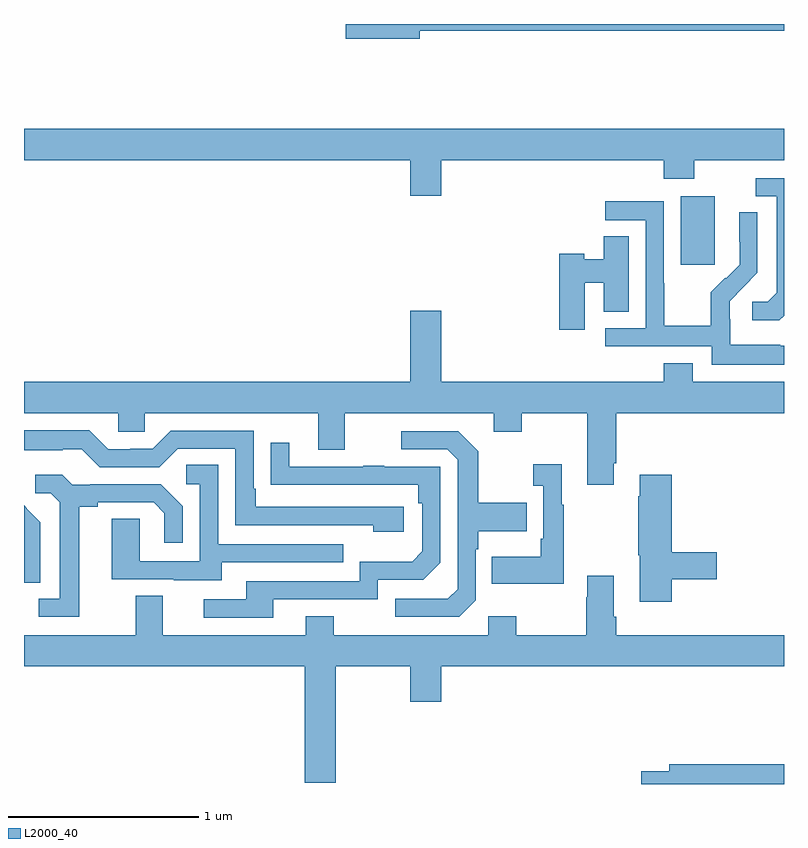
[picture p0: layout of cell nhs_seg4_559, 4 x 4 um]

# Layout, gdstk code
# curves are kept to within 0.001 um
import gdstk
lib = gdstk.Library(unit=1e-6, precision=1e-09)
def R(c, l, rs):  # rectangles x0, y0, x1, y1
    for r in rs: c.add(gdstk.rectangle(r[:2], r[2:], *l))
def P(c, l, *ps):  # polygons
    for p in ps: c.add(gdstk.Polygon(p, *l))
L2000_40 = (2000, 40)

nhs_seg4_559 = lib.new_cell('nhs_seg4_559')
R(nhs_seg4_559, L2000_40, [(142.457,765.633,142.636,765.994)])
P(nhs_seg4_559, L2000_40, [(141.082,766.864),(143,766.864),(143,766.9),(140.694,766.9),(140.694,766.822),(141.082,766.822)],
  [(141.196,766.184),(142.367,766.184),(142.367,766.085),(142.527,766.085),(142.527,766.184),(143,766.184),(143,766.348),(139,766.348),(139,766.184),(141.032,766.184),(141.032,765.996),(141.196,765.996)],
  [(143,765.365),(143,766.089),(142.851,766.089),(142.851,765.993),(142.961,765.993),(142.961,765.485),(142.914,765.438),(142.833,765.438),(142.833,765.341),(142.976,765.341)],
  [(143,765.207),(142.979,765.207),(142.979,765.211),(142.716,765.211),(142.716,765.345),(142.714,765.345),(142.714,765.442),(142.86,765.59),(142.86,765.908),(142.764,765.908),(142.764,765.754),(142.766,765.754),(142.766,765.632),(142.695,765.561),(142.692,765.564),(142.615,765.487),(142.615,765.313),(142.371,765.313),(142.371,765.536),(142.368,765.536),(142.368,765.966),(142.059,765.966),(142.059,765.867),(142.272,765.867),(142.272,765.3),(142.059,765.3),(142.059,765.204),(142.62,765.204),(142.62,765.107),(143,765.107)],
  [(141.952,765.539),(142.052,765.539),(142.052,765.385),(142.183,765.385),(142.183,765.782),(142.052,765.782),(142.052,765.661),(141.948,765.661),(141.948,765.692),(141.818,765.692),(141.818,765.291),(141.952,765.291)],
  [(142.105,764.587),(142.118,764.587),(142.118,764.852),(143,764.852),(143,765.016),(142.519,765.016),(142.519,765.115),(142.367,765.115),(142.367,765.016),(141.196,765.016),(141.196,765.391),(141.032,765.391),(141.032,765.016),(139,765.016),(139,764.852),(139.497,764.852),(139.497,764.754),(139.635,764.754),(139.635,764.852),(140.549,764.852),(140.549,764.658),(140.689,764.658),(140.689,764.852),(141.473,764.852),(141.473,764.753),(141.621,764.753),(141.621,764.852),(141.965,764.852),(141.965,764.475),(142.105,764.475)],
  [(140.998,764.358),(140.221,764.358),(140.221,764.455),(140.208,764.455),(140.208,764.76),(139.773,764.76),(139.677,764.664),(139.559,764.664),(139.559,764.661),(139.443,764.661),(139.343,764.761),(139,764.761),(139,764.657),(139.205,764.657),(139.205,764.661),(139.305,764.661),(139.398,764.568),(139.713,764.568),(139.809,764.664),(140.112,764.664),(140.112,764.262),(140.837,764.262),(140.837,764.228),(140.998,764.228)],
  [(141.378,763.866),(141.378,764.135),(141.391,764.135),(141.391,764.231),(141.647,764.231),(141.647,764.379),(141.391,764.379),(141.391,764.651),(141.285,764.757),(140.985,764.757),(140.985,764.661),(141.228,764.661),(141.282,764.607),(141.282,763.926),(141.231,763.875),(140.955,763.875),(140.955,763.779),(141.291,763.779)],
  [(140.311,763.872),(140.862,763.872),(140.862,763.974),(141.102,763.974),(141.192,764.064),(141.192,764.571),(140.897,764.571),(140.897,764.576),(140.785,764.576),(140.785,764.571),(140.395,764.571),(140.395,764.695),(140.299,764.695),(140.299,764.476),(141.076,764.475),(141.076,764.378),(141.096,764.378),(141.096,764.124),(141.043,764.071),(140.766,764.071),(140.766,763.968),(140.171,763.968),(140.171,763.872),(139.947,763.872),(139.947,763.776),(140.311,763.776)],
  [(141.841,764.371),(141.829,764.371),(141.829,764.584),(141.681,764.584),(141.681,764.471),(141.732,764.471),(141.732,764.191),(141.72,764.191),(141.72,764.095),(141.463,764.095),(141.463,763.955),(141.841,763.955)],
  [(140.041,764.067),(140.681,764.067),(140.681,764.163),(140.022,764.163),(140.022,764.579),(139.854,764.579),(139.854,764.478),(139.926,764.478),(139.926,764.073),(139.608,764.073),(139.608,764.297),(139.463,764.297),(139.463,763.977),(139.787,763.977),(139.787,763.973),(140.041,763.973)],
  [(139.291,764.36),(139.387,764.36),(139.387,764.382),(139.682,764.382),(139.739,764.325),(139.739,764.169),(139.836,764.169),(139.836,764.362),(139.72,764.478),(139.348,764.478),(139.348,764.475),(139.254,764.475),(139.202,764.527),(139.059,764.527),(139.059,764.43),(139.14,764.43),(139.187,764.383),(139.187,763.875),(139.077,763.875),(139.077,763.779),(139.291,763.779)],
  [(142.409,763.978),(142.645,763.978),(142.645,764.12),(142.409,764.12),(142.409,764.527),(142.241,764.527),(142.241,764.414),(142.234,764.414),(142.234,764.103),(142.241,764.103),(142.241,763.86),(142.409,763.86)],
  [(139.086,764.278),(139.013,764.351),(139.014,764.352),(139,764.366),(139,763.96),(139.086,763.96)],
  [(140.641,763.52),(141.032,763.52),(141.032,763.332),(141.196,763.332),(141.196,763.52),(143,763.52),(143,763.684),(142.118,763.684),(142.118,763.78),(142.105,763.78),(142.105,763.996),(141.965,763.996),(141.965,763.883),(141.958,763.883),(141.958,763.684),(141.591,763.684),(141.591,763.783),(141.444,763.783),(141.444,763.684),(140.631,763.684),(140.631,763.783),(140.483,763.783),(140.483,763.684),(139.729,763.684),(139.729,763.892),(139.589,763.892),(139.589,763.684),(139,763.684),(139,763.52),(140.477,763.52),(140.477,762.906),(140.641,762.906)],
  [(143,763.004),(142.397,763.004),(142.397,762.968),(142.248,762.968),(142.248,762.9),(143,762.9)])

lib.write_gds('nhs_seg4_559.gds')
